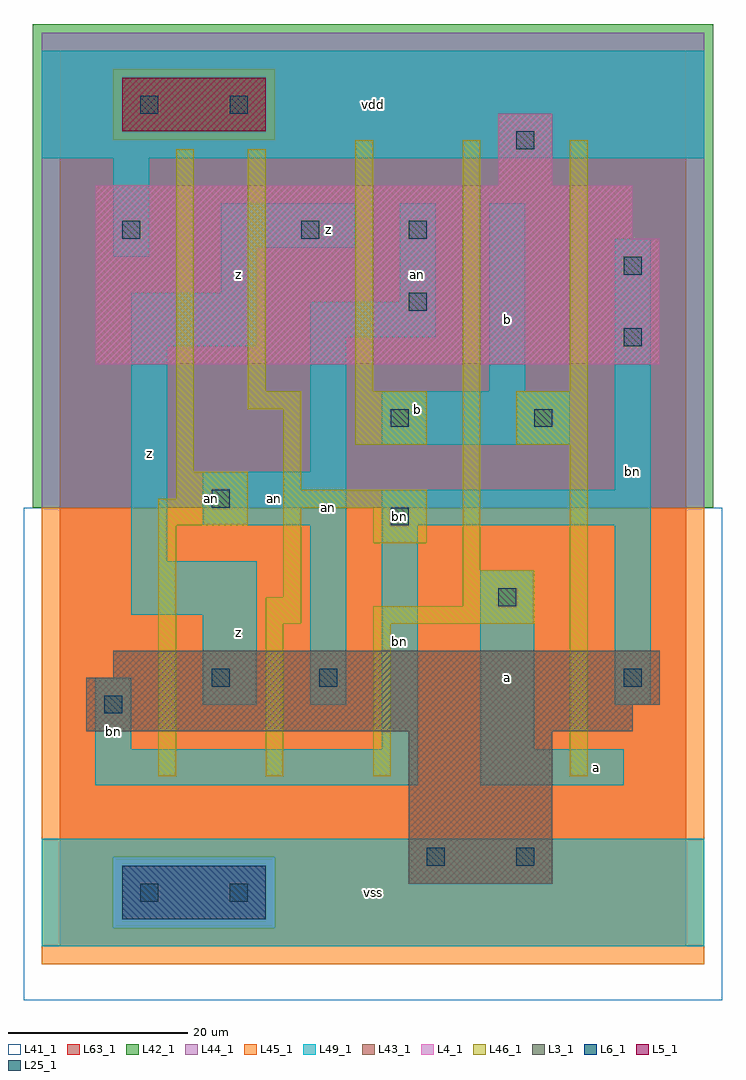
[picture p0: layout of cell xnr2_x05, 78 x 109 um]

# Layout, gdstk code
import gdstk
lib = gdstk.Library(unit=1e-6, precision=1e-09)
def R(c, l, rs):  # rectangles x0, y0, x1, y1
    for r in rs: c.add(gdstk.rectangle(r[:2], r[2:], *l))
L3_1 = (3, 1)
L4_1 = (4, 1)
L5_1 = (5, 1)
L6_1 = (6, 1)
L25_1 = (25, 1)
L41_1 = (41, 1)
L42_1 = (42, 1)
L43_1 = (43, 1)
L44_1 = (44, 1)
L45_1 = (45, 1)
L46_1 = (46, 1)
L49_1 = (49, 1)
L63_1 = (63, 1)

xnr2_x05 = lib.new_cell('xnr2_x05')
R(xnr2_x05, L3_1, [(39,7,55,24), (3,24,64,27), (3,27,67,30), (6,30,67,33)])
R(xnr2_x05, L4_1, [(4,65,67,79), (4,79,64,85), (49,85,55,93)])
R(xnr2_x05, L5_1, [(7,91,23,97)])
R(xnr2_x05, L6_1, [(7,3,23,9)])
R(xnr2_x05, L25_1, [(9,5,11,7), (19,5,21,7), (41,9,43,11), (51,9,53,11), (5,26,7,28), (17,29,19,31), (29,29,31,31), (63,29,65,31), (49,38,51,40), (37,47,39,49), (17,49,19,51), (37,58,39,60), (53,58,55,60), (63,67,65,69), (39,71,41,73), (63,75,65,77), (7,79,9,81), (27,79,29,81), (39,79,41,81), (51,89,53,91), (9,93,11,95), (19,93,21,95)])
R(xnr2_x05, L41_1, [(-4,-6,74,49), (-3,-3,73,49)])
R(xnr2_x05, L42_1, [(-3,49,73,103)])
R(xnr2_x05, L43_1, [(7,3,23,9), (39,7,55,24), (3,24,64,27), (3,27,67,30), (6,30,67,33), (4,65,67,79), (4,79,64,85), (49,85,55,93), (7,91,23,97)])
R(xnr2_x05, L44_1, [(6,2,24,10), (-2,49,72,90), (-2,90,6,98), (24,90,72,98), (-2,98,72,102)])
R(xnr2_x05, L45_1, [(-2,-2,72,2), (-2,2,6,10), (24,2,72,10), (-2,10,72,49), (6,90,24,98)])
R(xnr2_x05, L46_1, [(11,19,13,47), (23,19,25,36), (35,19,37,36), (57,19,59,56), (23,36,27,39), (35,36,53,38), (45,38,53,42), (25,39,27,49), (45,42,47,90), (35,45,41,49), (11,47,21,50), (25,49,41,51), (13,50,21,53), (25,51,27,60), (13,53,15,89), (33,56,41,62), (51,56,59,62), (21,60,27,62), (21,62,23,89), (33,62,35,90), (57,62,59,90)])
R(xnr2_x05, L49_1, [(-2,0,72,12), (4,18,40,22), (47,18,63,22), (4,22,8,30), (36,22,40,47), (47,22,53,42), (16,27,22,37), (28,27,32,47), (62,27,66,47), (8,37,22,43), (8,43,12,67), (16,47,32,53), (36,47,66,51), (62,51,66,79), (28,53,32,68), (36,56,57,62), (48,62,52,83), (8,67,22,73), (28,68,42,72), (38,72,42,83), (18,73,22,78), (6,77,10,88), (18,78,33,83), (-2,88,72,100)])
R(xnr2_x05, L63_1, [(0,0,70,100)])
xnr2_x05.add(gdstk.Label('an', (17,50), layer=49, texttype=1))
xnr2_x05.add(gdstk.Label('bn', (38,48), layer=49, texttype=1))
xnr2_x05.add(gdstk.Label('bn', (6,24), layer=49, texttype=1))
xnr2_x05.add(gdstk.Label('z', (10,55), layer=49, texttype=1))
xnr2_x05.add(gdstk.Label('z', (10,55), layer=49, texttype=1))
xnr2_x05.add(gdstk.Label('z', (20,35), layer=49, texttype=1))
xnr2_x05.add(gdstk.Label('z', (20,35), layer=49, texttype=1))
xnr2_x05.add(gdstk.Label('an', (30,49), layer=49, texttype=1))
xnr2_x05.add(gdstk.Label('an', (24,50), layer=49, texttype=1))
xnr2_x05.add(gdstk.Label('z', (20,75), layer=49, texttype=1))
xnr2_x05.add(gdstk.Label('z', (20,75), layer=49, texttype=1))
xnr2_x05.add(gdstk.Label('z', (30,80), layer=49, texttype=1))
xnr2_x05.add(gdstk.Label('z', (30,80), layer=49, texttype=1))
xnr2_x05.add(gdstk.Label('vss', (35,6), layer=49, texttype=1))
xnr2_x05.add(gdstk.Label('vss', (35,6), layer=49, texttype=1))
xnr2_x05.add(gdstk.Label('a', (50,30), layer=49, texttype=1))
xnr2_x05.add(gdstk.Label('a', (50,30), layer=49, texttype=1))
xnr2_x05.add(gdstk.Label('bn', (38,34), layer=49, texttype=1))
xnr2_x05.add(gdstk.Label('b', (50,70), layer=49, texttype=1))
xnr2_x05.add(gdstk.Label('b', (40,60), layer=49, texttype=1))
xnr2_x05.add(gdstk.Label('b', (50,70), layer=49, texttype=1))
xnr2_x05.add(gdstk.Label('b', (40,60), layer=49, texttype=1))
xnr2_x05.add(gdstk.Label('an', (40,75), layer=49, texttype=1))
xnr2_x05.add(gdstk.Label('vdd', (35,94), layer=49, texttype=1))
xnr2_x05.add(gdstk.Label('vdd', (35,94), layer=49, texttype=1))
xnr2_x05.add(gdstk.Label('a', (60,20), layer=49, texttype=1))
xnr2_x05.add(gdstk.Label('a', (60,20), layer=49, texttype=1))
xnr2_x05.add(gdstk.Label('bn', (64,53), layer=49, texttype=1))

lib.write_gds('xnr2_x05.gds')
